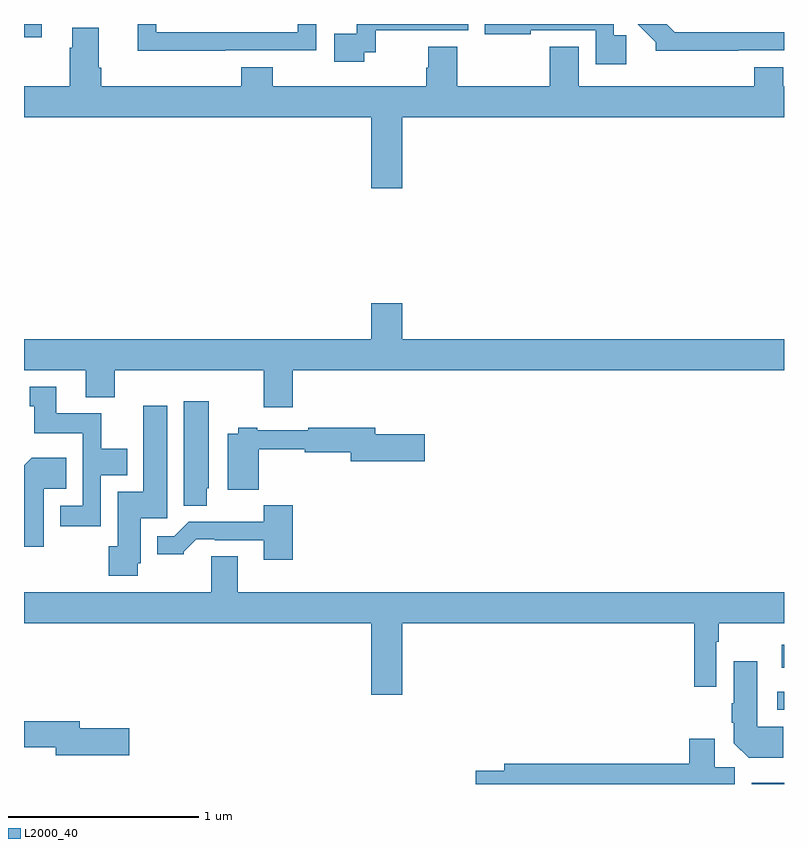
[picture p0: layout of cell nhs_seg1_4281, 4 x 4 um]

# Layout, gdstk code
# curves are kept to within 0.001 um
import gdstk
lib = gdstk.Library(unit=1e-6, precision=1e-09)
def R(c, l, rs):  # rectangles x0, y0, x1, y1
    for r in rs: c.add(gdstk.rectangle(r[:2], r[2:], *l))
def P(c, l, *ps):  # polygons
    for p in ps: c.add(gdstk.Polygon(p, *l))
L2000_40 = (2000, 40)

nhs_seg1_4281 = lib.new_cell('nhs_seg1_4281')
R(nhs_seg1_4281, L2000_40, [(346.829,572.199,347,572.206), (346.965,572.589,347,572.685), (346.989,572.81,347,572.932), (343,576.129,343.093,576.199)])
P(nhs_seg1_4281, L2000_40, [(344.79,576.051),(344.852,576.051),(344.852,576.165),(345.339,576.165),(345.339,576.199),(344.751,576.199),(344.751,576.147),(344.634,576.147),(344.634,576),(344.79,576)],
  [(346.169,576.139),(346.104,576.139),(346.104,576.199),(345.424,576.199),(345.424,576.146),(345.667,576.146),(345.667,576.165),(346.008,576.165),(346.008,575.988),(346.169,575.988)],
  [(346.76,576.06),(347,576.06),(347,576.156),(346.425,576.156),(346.382,576.199),(346.23,576.199),(346.326,576.103),(346.326,576.059),(346.76,576.059)],
  [(344.06,576.06),(344.538,576.06),(344.538,576.199),(344.442,576.199),(344.442,576.156),(343.695,576.156),(343.695,576.199),(343.598,576.199),(343.598,576.059),(344.06,576.059)],
  [(344.992,575.708),(347,575.708),(347,575.872),(346.996,575.872),(346.996,575.971),(346.844,575.971),(346.844,575.872),(345.919,575.872),(345.919,576.08),(345.767,576.08),(345.767,575.872),(345.281,575.872),(345.281,576.08),(345.128,576.08),(345.128,575.97),(345.116,575.97),(345.116,575.872),(344.309,575.872),(344.309,575.971),(344.144,575.971),(344.144,575.872),(343.406,575.872),(343.406,575.968),(343.393,575.968),(343.393,576.18),(343.253,576.18),(343.253,576.074),(343.241,576.074),(343.241,575.872),(343,575.872),(343,575.708),(344.828,575.708),(344.828,575.334),(344.992,575.334)],
  [(344.414,574.376),(347,574.376),(347,574.54),(344.992,574.54),(344.992,574.729),(344.828,574.729),(344.828,574.54),(343,574.54),(343,574.376),(343.325,574.376),(343.325,574.235),(343.478,574.235),(343.478,574.376),(344.261,574.376),(344.261,574.182),(344.414,574.182)],
  [(343.404,573.824),(343.543,573.824),(343.543,573.964),(343.407,573.964),(343.407,574.15),(343.171,574.15),(343.171,574.291),(343.031,574.291),(343.031,574.188),(343.055,574.188),(343.055,574.046),(343.308,574.046),(343.308,573.663),(343.191,573.663),(343.191,573.555),(343.404,573.555)],
  [(343.963,573.756),(343.972,573.756),(343.972,574.213),(343.841,574.213),(343.841,573.664),(343.963,573.664)],
  [(343.599,573.36),(343.615,573.36),(343.615,573.597),(343.753,573.597),(343.753,574.189),(343.628,574.189),(343.628,573.736),(343.493,573.736),(343.493,573.45),(343.447,573.45),(343.447,573.294),(343.599,573.294)],
  [(344.236,573.961),(344.478,573.961),(344.478,573.946),(344.72,573.946),(344.72,573.899),(345.109,573.899),(345.109,574.041),(344.848,574.041),(344.848,574.075),(344.497,574.075),(344.497,574.062),(344.227,574.062),(344.227,574.075),(344.127,574.075),(344.127,574.042),(344.072,574.042),(344.072,573.749),(344.236,573.749)],
  [(343.105,573.752),(343.223,573.752),(343.223,573.916),(343.04,573.916),(343,573.876),(343,573.447),(343.105,573.447)],
  [(344.414,573.667),(344.261,573.667),(344.261,573.58),(343.866,573.579),(343.791,573.504),(343.7,573.504),(343.7,573.407),(343.842,573.407),(343.842,573.422),(343.906,573.486),(344.005,573.486),(344.005,573.483),(344.261,573.483),(344.261,573.378),(344.414,573.378)],
  [(344.992,573.044),(346.528,573.044),(346.528,572.712),(346.644,572.712),(346.644,572.948),(346.657,572.948),(346.657,573.044),(347,573.044),(347,573.208),(344.125,573.208),(344.125,573.398),(343.985,573.398),(343.985,573.208),(343,573.208),(343,573.044),(344.828,573.044),(344.828,572.67),(344.992,572.67)],
  [(346.997,572.5),(346.858,572.5),(346.858,572.845),(346.736,572.845),(346.736,572.624),(346.724,572.624),(346.724,572.521),(346.736,572.521),(346.736,572.414),(346.814,572.336),(346.997,572.336)],
  [(343.555,572.492),(343.294,572.492),(343.294,572.528),(343,572.528),(343,572.392),(343.166,572.392),(343.166,572.35),(343.555,572.35)],
  [(346.741,572.288),(346.636,572.288),(346.636,572.437),(346.502,572.437),(346.502,572.306),(345.527,572.306),(345.527,572.27),(345.378,572.27),(345.378,572.199),(346.741,572.199)])

lib.write_gds('nhs_seg1_4281.gds')
